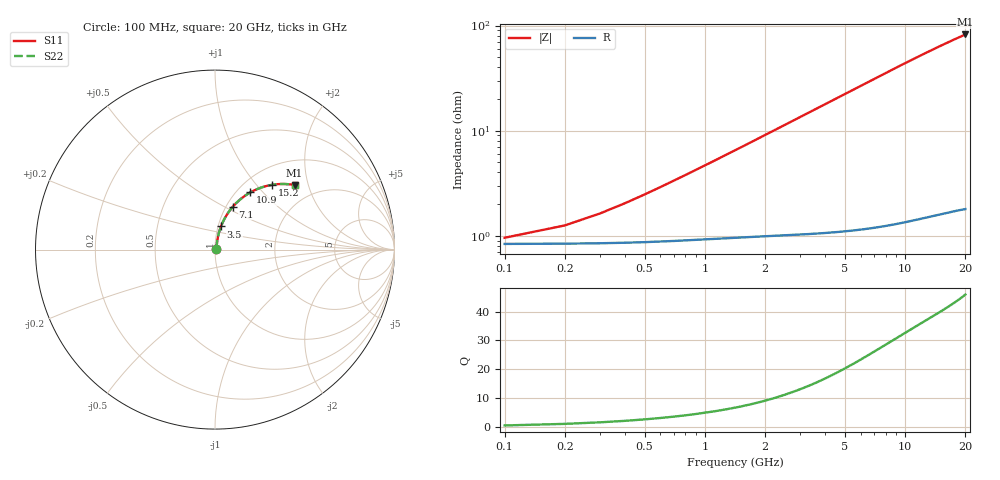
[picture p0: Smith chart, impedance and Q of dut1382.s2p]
! Touchstone file exported from HFSS 2026.1.0
!  File:  C:/ffzhzh/LocalFiles/Ansys_Project_Files/temp_train_TMRDL_1382_1783166082_55132.aedt
!  Generated:  07:55:56 PM Jul  4, 2026
!  Design:  TMRDL
!  Project:  temp_train_TMRDL_1382_1783166082_55132
! Variables:
!  h_bsmrdl = 2um
!  h_ox = 20um
!  h_rdl = 5um
!  h_sub = 80um
!  h_tmrdl = 2.39um
!  h_tsv = 80um
!  h_via = 3um
!  l_bsmrdl = 300um
!  l_sub = 1033.1um
!  l_tmrdl = 633.1um
!  m_sub = 200um
!  pitch = 51.2um
!  r_tsv = 6um
!  s_tmrdl = 10um
!  w_bsmrdl = 18um
!  w_sub = 500um
!  w_tmrdl = 11.32um
!  x_tsv_center1 = 638.76um
!  x_tsv_center2 = 956.76um
!  x_tsv_center3 = 1601.18um
!  x_tsv_center4 = 1919.18um
!  x_tsv_center5 = 2563.6um
!  x_tsv_center6 = 2881.6um
# GHz S MA R 50.000000
! Terminal data exported
! Port[1] = TM_RDL1_1_T1
! Port[2] = TM_RDL1_1_T2
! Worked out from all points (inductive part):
!   200 points, 100 MHz to 20 GHz, reference 50 ohm
!   read as one part in series: L = 730 pH near 600 MHz
!   highest Q = 45.9 at 20 GHz (marker M1), where L = 655 pH
!   S11 on the Smith chart (normalised r, x): 100 MHz: 1.02, +0.01; 3.5 GHz: 1.03, +0.27; 7.1 GHz: 1.07, +0.55; 10.9 GHz: 1.15, +0.86; 15.2 GHz: 1.29, +1.21; 20 GHz: 1.53, +1.64
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0.1  0.009201 25.5  0.9917 -0.3  0.9917 -0.3  0.009201 25.5
! Gamma 0 0 0 0
! Port Impedance 50 0 50 0
0.3  0.01463 54.0  0.9915 -0.9  0.9915 -0.9  0.01463 54.0
0.4  0.01805 60.7  0.9914 -1.2  0.9914 -1.2  0.01805 60.7
0.6  0.0253 68.1  0.991 -1.8  0.991 -1.8  0.0253 68.1
0.7  0.02901 70.2  0.9908 -2.1  0.9908 -2.1  0.02901 70.2
0.9  0.03647 73.0  0.9903 -2.7  0.9903 -2.7  0.03647 73.0
1.2  0.04769 75.2  0.9896 -3.5  0.9896 -3.5  0.04769 75.2
1.7  0.06641 76.7  0.9882 -5.0  0.9882 -5.0  0.06641 76.7
2.2  0.0851 77.0  0.9866 -6.4  0.9866 -6.4  0.0851 77.0
2.8  0.1074 76.5  0.9842 -8.1  0.9842 -8.1  0.1074 76.5
3.5  0.1333 75.5  0.9809 -10.1  0.9809 -10.1  0.1333 75.5
4.2  0.1588 74.1  0.9769 -12.1  0.9769 -12.1  0.1588 74.1
5  0.1875 72.4  0.9716 -14.3  0.9716 -14.3  0.1875 72.4
6.8  0.2495 68.1  0.9571 -19.3  0.9571 -19.3  0.2495 68.1
7.1  0.2595 67.4  0.9544 -20.1  0.9544 -20.1  0.2595 67.4
8.5  0.3045 64.0  0.9407 -23.8  0.9407 -23.8  0.3045 64.0
10.1  0.3526 60.1  0.9233 -27.9  0.9233 -27.9  0.3526 60.1
10.9  0.3752 58.2  0.9142 -29.8  0.9142 -29.8  0.3753 58.2
13.4  0.4401 52.5  0.8844 -35.7  0.8844 -35.7  0.4401 52.5
15.2  0.4814 48.6  0.8625 -39.8  0.8625 -39.8  0.4814 48.6
16.7  0.5124 45.5  0.8444 -42.9  0.8444 -42.9  0.5124 45.5
20  0.5708 39.1  0.8063 -49.5  0.8063 -49.5  0.5708 39.0
